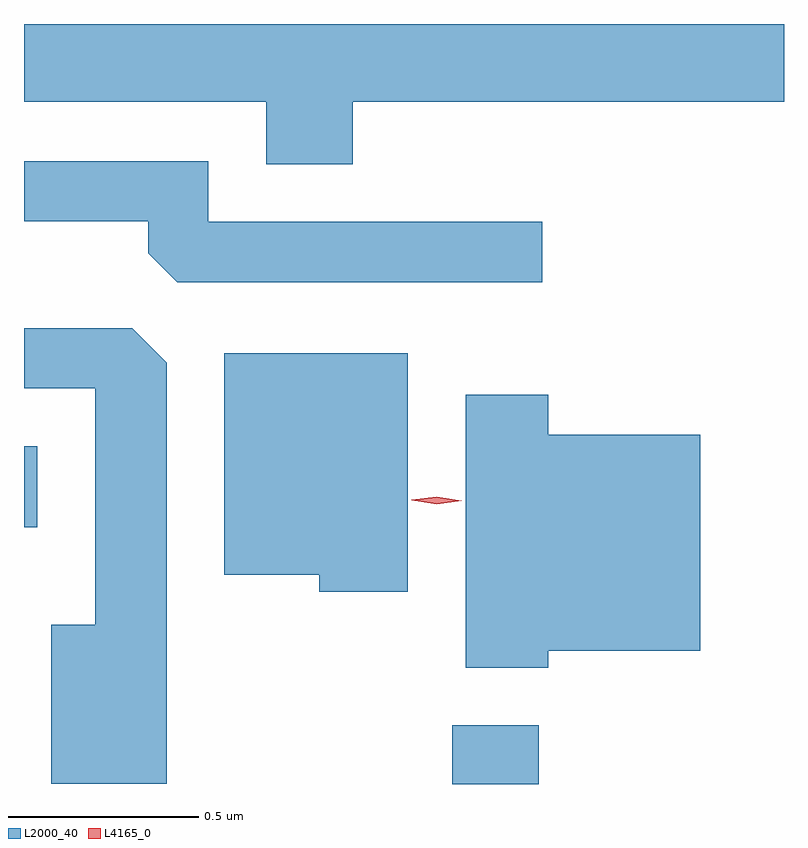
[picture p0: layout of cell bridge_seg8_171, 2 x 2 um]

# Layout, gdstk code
import gdstk
lib = gdstk.Library(unit=1e-6, precision=1e-09)
def R(c, l, rs):  # rectangles x0, y0, x1, y1
    for r in rs: c.add(gdstk.rectangle(r[:2], r[2:], *l))
def P(c, l, *ps):  # polygons
    for p in ps: c.add(gdstk.Polygon(p, *l))
L2000_40 = (2000, 40)
L4165_0 = (4165, 0)

bridge_seg8_171 = lib.new_cell('bridge_seg8_171')
R(bridge_seg8_171, L2000_40, [(1410.711,1905.66,1410.939,1905.814), (1409.584,1906.336,1409.619,1906.549)])
P(bridge_seg8_171, L2000_40, [(1410.449,1907.456),(1411.584,1907.456),(1411.584,1907.66),(1409.584,1907.66),(1409.584,1907.456),(1410.221,1907.456),(1410.221,1907.291),(1410.449,1907.291)],
  [(1410.948,1907.139),(1410.069,1907.139),(1410.069,1907.299),(1409.584,1907.299),(1409.584,1907.141),(1409.911,1907.141),(1409.911,1907.057),(1409.987,1906.981),(1410.948,1906.981)],
  [(1409.959,1906.769),(1409.869,1906.859),(1409.584,1906.859),(1409.584,1906.701),(1409.771,1906.701),(1409.771,1906.079),(1409.656,1906.079),(1409.656,1905.661),(1409.959,1905.661)],
  [(1410.594,1906.794),(1410.111,1906.794),(1410.111,1906.211),(1410.361,1906.211),(1410.361,1906.166),(1410.594,1906.166)],
  [(1410.964,1906.011),(1411.364,1906.011),(1411.364,1906.579),(1410.964,1906.579),(1410.964,1906.684),(1410.746,1906.684),(1410.746,1905.966),(1410.964,1905.966)])
P(bridge_seg8_171, L4165_0, [(1410.67,1906.396),(1410.604,1906.407),(1410.603,1906.408),(1410.604,1906.408),(1410.67,1906.416),(1410.736,1906.406),(1410.736,1906.405),(1410.736,1906.405)])

lib.write_gds('bridge_seg8_171.gds')
